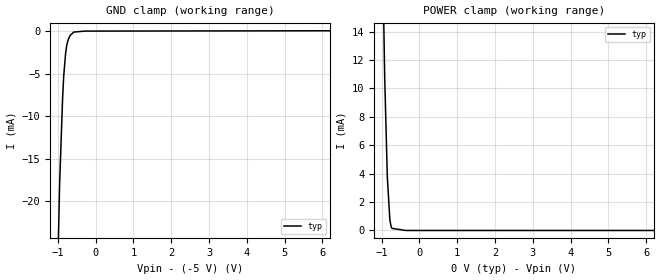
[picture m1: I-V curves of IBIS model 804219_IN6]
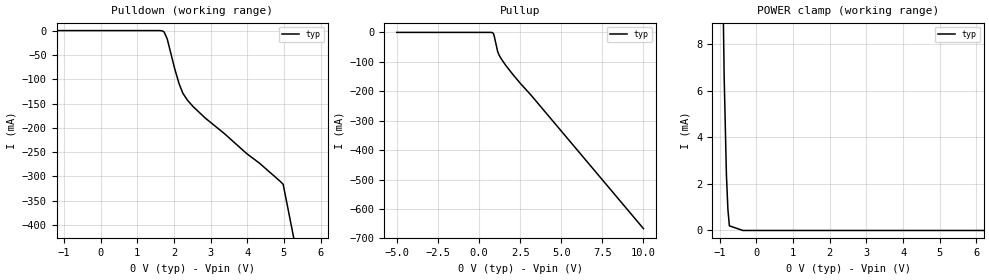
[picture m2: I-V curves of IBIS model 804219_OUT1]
| COPYRIGHT(C) MENTOR GRAPHICS CORPORATION 2001 ALL
| RIGHTS RESERVED. THIS WORK CONTAINS PROPRIETARY
| INFORMATION WHICH IS THE PROPERTY OF MENTOR GRAPHICS
| CORPORATION OR ITS LICENSORS. USE OF THESE MATERIALS
| IS SUBJECT TO THE TERMS BELOW.
| USE: MENTOR GRAPHICS HAS LICENSED IBIS MODELS TO
| SPECIFIC INTEGRATED CIRCUIT SUPPLIERS ("IC VENDORS")
| FOR USE AND DISTRIBUTION AS FOLLOWS: EACH IC VENDOR
| MAY USE IBIS MODELS, AND DISTRIBUTE THEM TO IC VENDOR'S
| CUSTOMERS TO USE, SOLELY FOR DEVELOPING PRINTED
| CIRCUIT BOARD DESIGNS. NO OTHER USE OR DISTRIBUTION
| OF THESE MATERIALS IS PERMITTED.
| DISCLAIMER OF WARRANTY:  UNLESS OTHERWISE AGREED
| IN WRITING, MENTOR GRAPHICS SOFTWARE AND ASSOCIATED
| FILES ARE PROVIDED "AS IS" AND WITHOUT WARRANTY.
| MENTOR GRAPHICS HAS NO OBLIGATION TO SUPPORT OR
| OTHERWISE MAINTAIN SOFTWARE.  MENTOR GRAPHICS MAKES
| NO WARRANTIES, EXPRESS OR IMPLIED WITH RESPECT TO
| SOFTWARE INCLUDING ANY WARRANTY OF MERCHANTABILITY
| OR FITNESS FOR A PARTICULAR PURPOSE.
| LIMITATION OF LIABILITY:  MENTOR GRAPHICS IS NOT LIABLE FOR
| ANY PROPERTY DAMAGE, PERSONAL INJURY, LOSS OF PROFITS,
| INTERRUPTION OF BUSINESS, OR FOR ANY OTHER SPECIAL,
| CONSEQUENTIAL OR INCIDENTAL DAMAGES, HOWEVER CAUSED,
| WHETHER FOR BREACH OF WARRANTY, CONTRACT, TORT
| (INCLUDING NEGLIGENCE), STRICT LIABILITY OR OTHERWISE. IN NO
| EVENT SHALL MENTOR GRAPHICS' LIABILITY EXCEED THE AMOUNT
| PAID FOR THE PRODUCT GIVING RISE TO THE CLAIM.
| TRADEMARKS:  THE FOLLOWING ARE REGISTERED TRADEMARKS
| OR SERVICE MARKS OF MENTOR GRAPHICS CORPORATION:
| ICX, ICX STANDARD LIBRARY, ICX PROJECT MODELING,
| AND ICX CUSTOM MODELING.  THE FOLLOWING ARE TRADEMARKS
| OR SERVICE MARKS OF MENTOR GRAPHICS CORPORATION:
| QUALITYIBIS, MODELVIEWER, AND MODELEDITOR. ALL OTHER
| BRANDS AND PRODUCT NAMES ARE TRADEMARKS OF THEIR
| RESPECTIVE OWNERS.
| COPIES:  ALL COPIES OF SOFTWARE, INCLUDING BUT NOT LIMITED
| TO ANY MODIFICATIONS, ENHANCEMENTS OR DERIVATIVE WORKS
| MUST CONTAIN ALL MENTOR GRAPHICS' NOTICES AND LEGENDS,
| INCLUDING THOSE EMBEDDED IN SOFTWARE AND THOSE AFFIXED
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[IBIS Ver] 3.1
[File Name] mc10el11d_-50.ibs
[File Rev] 1
[Source] derived from mc100el11d_50.ibs Measured and created by ICX Technology
[Date] 2/19/2004
[Copyright]
| COPYRIGHT(C) MENTOR GRAPHICS CORPORATION 2001 ALL
| RIGHTS RESERVED. THIS WORK CONTAINS PROPRIETARY
| INFORMATION WHICH IS THE PROPERTY OF MENTOR GRAPHICS
| CORPORATION OR ITS LICENSORS. USE OF THESE MATERIALS
| IS SUBJECT TO THE TERMS BELOW.
| USE: MENTOR GRAPHICS HAS LICENSED IBIS MODELS TO
| SPECIFIC INTEGRATED CIRCUIT SUPPLIERS ("IC VENDORS")
| FOR USE AND DISTRIBUTION AS FOLLOWS: EACH IC VENDOR
| MAY USE IBIS MODELS, AND DISTRIBUTE THEM TO IC VENDOR'S
| CUSTOMERS TO USE, SOLELY FOR DEVELOPING PRINTED
| CIRCUIT BOARD DESIGNS. NO OTHER USE OR DISTRIBUTION
| OF THESE MATERIALS IS PERMITTED.
|  ZAP Model Builder 3.2
[Component] MC10EL11D_-50
[Manufacturer] OnSemiconductor
[Package]
| variable   typ   min   max
R_pkg  .152ohms NA NA
L_pkg  2.714nH NA NA
C_pkg  .364pF NA NA
[Pin] signal_name  model_name  R_pin  L_pin C_pin
1 Q0 804219_OUT1 .154 2.924n .374p
2 _Q0 804219_OUT1 .15 2.504n .354p
3 Q1 804219_OUT1 .15 2.504n .354p
4 _Q1 804219_OUT1 .154 2.924n .374p
5 VEE POWER .154 2.924n .374p
6 _D 804219_IN6 .15 2.504n .354p
7 D 804219_IN6 .15 2.504n .354p
8 VCC POWER .154 2.924n .374p
[Diff Pin] inv_pin vdiff tdelay_typ tdelay_min tdelay_max
1 2 NA 0.005ns NA 0.02ns
3 4 NA 0.005ns NA 0.02ns
7 6 350mV NA NA NA
| Models and submodels in the file (2): 804219_IN6 (Input_ECL), 804219_OUT1 (Output_ECL)
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| COPYRIGHT(C) MENTOR GRAPHICS CORPORATION 2001 ALL
| RIGHTS RESERVED. THIS WORK CONTAINS PROPRIETARY
| INFORMATION WHICH IS THE PROPERTY OF MENTOR GRAPHICS
| CORPORATION OR ITS LICENSORS. USE OF THESE MATERIALS
| IS SUBJECT TO THE TERMS BELOW.
| USE: MENTOR GRAPHICS HAS LICENSED IBIS MODELS TO
| SPECIFIC INTEGRATED CIRCUIT SUPPLIERS ("IC VENDORS")
| FOR USE AND DISTRIBUTION AS FOLLOWS: EACH IC VENDOR
| MAY USE IBIS MODELS, AND DISTRIBUTE THEM TO IC VENDOR'S
| CUSTOMERS TO USE, SOLELY FOR DEVELOPING PRINTED
| CIRCUIT BOARD DESIGNS. NO OTHER USE OR DISTRIBUTION
| OF THESE MATERIALS IS PERMITTED.
| Model Application Version 1.89 2/18/99.
[Model] 804219_IN6
Model_type Input_ECL
Vinl = -1.480V
Vinh = -1.130V
C_comp 2.00pF NA NA
| variable typ   min   max
[Voltage Range] -5.000V NA NA
[GND Clamp Reference] -5.000V NA NA
[POWER Clamp Reference] 0.000V NA NA
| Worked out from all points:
|   GND clamp passes 1 mA (typ) near -0.73 V on its own axis
|   POWER clamp passes 1 mA (typ) near -0.79 V on its own axis
[GND Clamp]
-5V       -822.8mA   NA         NA
-953mV    -18.02mA   NA         NA
-875mV    -7.989mA   NA         NA
-845mV    -5.28mA    NA         NA
-793mV    -2.545mA   NA         NA
-763mV    -1.614mA   NA         NA
-727mV    -995.4uA   NA         NA
-674mV    -489.5uA   NA         NA
-578mV    -96.15uA   NA         NA
-289mV    19.51uA    NA         NA
10V       83.8uA     NA         NA
[POWER Clamp]
-5V       1.929A     NA         NA
-1.123V   51.59mA    NA         NA
-1.055V   32.7mA     NA         NA
-918mV    10.83mA    NA         NA
-848.2mV  3.764mA    NA         NA
-781.2mV  741uA      NA         NA
-747mV    264.5uA    NA         NA
-722.7mV  145.6uA    NA         NA
-361.3mV  0A         NA         NA
10V       0A         NA         NA
| COPYRIGHT(C) MENTOR GRAPHICS CORPORATION 2001 ALL
| RIGHTS RESERVED. THIS WORK CONTAINS PROPRIETARY
| INFORMATION WHICH IS THE PROPERTY OF MENTOR GRAPHICS
| CORPORATION OR ITS LICENSORS. USE OF THESE MATERIALS
| IS SUBJECT TO THE TERMS BELOW.
| USE: MENTOR GRAPHICS HAS LICENSED IBIS MODELS TO
| SPECIFIC INTEGRATED CIRCUIT SUPPLIERS ("IC VENDORS")
| FOR USE AND DISTRIBUTION AS FOLLOWS: EACH IC VENDOR
| MAY USE IBIS MODELS, AND DISTRIBUTE THEM TO IC VENDOR'S
| CUSTOMERS TO USE, SOLELY FOR DEVELOPING PRINTED
| CIRCUIT BOARD DESIGNS. NO OTHER USE OR DISTRIBUTION
| OF THESE MATERIALS IS PERMITTED.
| Model Application Version 1.89 2/18/99.
[Model] 804219_OUT1
Model_type Output_ECL
Vref=-2.000V
Rref=50.00ohms
Cref=0.000F
Vmeas=-1.343V
C_comp 2.00pF NA NA
| variable typ   min   max
[Voltage Range] -5.000V NA NA
[POWER Clamp Reference] 0.000V NA NA
[Pullup Reference] 0.000V NA NA
[Pulldown Reference] 0.000V NA NA
[GND Clamp Reference] -5.000V NA NA
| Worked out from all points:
|   POWER clamp passes 1 mA (typ) near -0.78 V on its own axis
[GND Clamp]
-5V       0A         NA         NA
10V       0A         NA         NA
[Pulldown]
-5V       0A         NA         NA
1.696V    -1mA       NA         NA
1.737V    -3.3mA     NA         NA
1.818V    -17.1mA    NA         NA
2.02V     -77.8mA    NA         NA
2.142V    -109.3mA   NA         NA
2.243V    -128.6mA   NA         NA
2.365V    -142.7mA   NA         NA
2.851V    -179.6mA   NA         NA
4.331V    -272.5mA   NA         NA
4.98V     -316.2mA   NA         NA
10V       -2.236A    NA         NA
[Pullup]
-5V       0A         NA         NA
845mV     -2mA       NA         NA
926mV     -12.7mA    NA         NA
1.129V    -64.4mA    NA         NA
1.21V     -75.9mA    NA         NA
1.635V    -112.9mA   NA         NA
2.101V    -146mA     NA         NA
3.176V    -214.1mA   NA         NA
10V       -666.9mA   NA         NA
[POWER Clamp]
-5V       895.7mA    NA         NA
-1.121V   38.5mA     NA         NA
-1.02V    22.5mA     NA         NA
-878mV    6.6mA      NA         NA
-817mV    2.4mA      NA         NA
-776mV    900uA      NA         NA
-736mV    200uA      NA         NA
-368mV    0A         NA         NA
10V       0A         NA         NA
[Ramp]
| variable typ min max
dV/dt_r 311.1m/272.3p NA NA
dV/dt_f 311.1m/202.7p NA NA
R_load = 50.00Ohms
